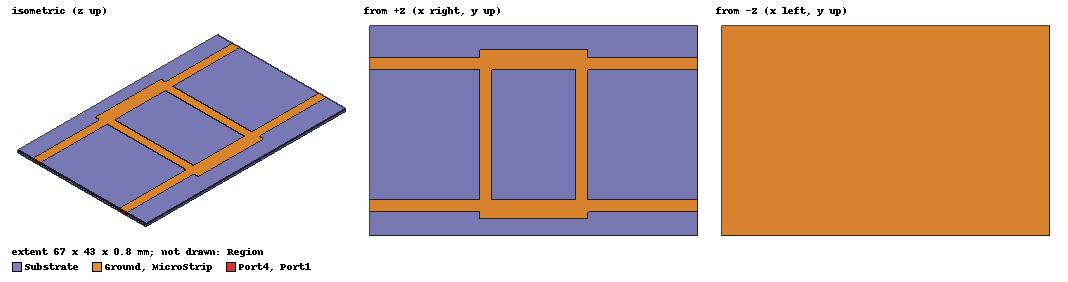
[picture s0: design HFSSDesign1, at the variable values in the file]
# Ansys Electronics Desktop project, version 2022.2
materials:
  vacuum: permittivity=1
  Rogers RT/duroid 5880 (tm): permittivity=2.2 dielectric_loss_tangent=0.0009

design HFSSDesign1 (HFSS, DrivenModal, model units mm)
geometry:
  Ground = rectangle(corner=(0mm, 0mm, 0mm), x_size=67mm, y_size=43mm)
  Substrate [Rogers RT/duroid 5880 (tm)] = box(corner=(0mm, 0mm, 0mm), size=(67mm, 43mm, 0.8mm))
  Rectangle2 = rectangle(corner=(44.5mm, 5mm, 0.8mm), x_size=22.5mm, y_size=2.5mm)
  Rectangle3 = rectangle(corner=(44.5mm, 34mm, 0.8mm), x_size=22.5mm, y_size=2.5mm)
  Rectangle4 = rectangle(corner=(0mm, 5mm, 0.8mm), x_size=22.5mm, y_size=2.5mm)
  Rectangle5 = rectangle(corner=(0mm, 34mm, 0.8mm), x_size=22.5mm, y_size=2.5mm)
  Rectangle6 = rectangle(corner=(22.5mm, 3.5mm, 0.8mm), x_size=22mm, y_size=4mm)
  MicroStrip = rectangle(corner=(22.5mm, 7.5mm, 0.8mm), x_size=2.5mm, y_size=26.5mm)
  Rectangle8 = rectangle(corner=(22.5mm, 34mm, 0.8mm), x_size=22mm, y_size=4mm)
  Rectangle9 = rectangle(corner=(42mm, 7.5mm, 0.8mm), x_size=2.5mm, y_size=26.5mm)
  MicroStrip.unite(Rectangle6, Rectangle5, Rectangle4, Rectangle3, Rectangle8, Rectangle9, Rectangle2)
  Port1 = rectangle(corner=(67mm, 5mm, 0.8mm), y_size=2.5mm, z_size=-0.8mm)
  Port4 = rectangle(corner=(67mm, 34mm, 0.8mm), y_size=2.5mm, z_size=-0.8mm)
  Port2 = rectangle(corner=(0mm, 5mm, 0.8mm), y_size=2.5mm, z_size=-0.8mm)
  Port3 = rectangle(corner=(0mm, 34mm, 0.8mm), y_size=2.5mm, z_size=-0.8mm)
  Region [vacuum] = region(absolute_offset=50mm on all sides)
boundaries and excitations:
  PerfE1: Perfect E Objects=MicroStrip
  PerfE2: Perfect E Objects=Ground
  Rad1: Radiation Objects=Region
  Rad2: Radiation Objects=Region
  PerfE3: Perfect E Objects=Ground
  Rad3: Radiation Objects=Region
  1: Lumped Port Objects=Port1 Modes{Mode1{IntLine{(67, 6.25, 0) -> (67, 6.25, 0.8)} CharImp=Zpi RenormImp=50ohm}} Impedance=50ohm
  2: Lumped Port Objects=Port2 Modes{Mode1{IntLine{(0, 6.25, 0) -> (0, 6.25, 0.8)} CharImp=Zpi RenormImp=50ohm}} Impedance=50ohm
  3: Lumped Port Objects=Port3 Modes{Mode1{IntLine{(0, 35.25, 0) -> (0, 35.25, 0.8)} CharImp=Zpi RenormImp=50ohm}} Impedance=50ohm
  4: Lumped Port Objects=Port4 Modes{Mode1{IntLine{(67, 35.25, 0) -> (67, 35.25, 0.8)} CharImp=Zpi RenormImp=50ohm}} Impedance=50ohm
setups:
  Setup1: HfssDriven Frequency=2.45GHz MaxDeltaS=0.02 MaximumPasses=6 MinimumPasses=1 MinimumConvergedPasses=1 PercentRefinement=30 BasisOrder=1 PortAccuracy=2 DrivenSolverType="Direct Solver"
    sweep Sweep: 1.225GHz to 3.675GHz, 401 points; Type=Fast SaveFields
  Setup2: HfssDriven Frequency=2.45GHz MaxDeltaS=0.02 MaximumPasses=6 MinimumPasses=1 MinimumConvergedPasses=1 PercentRefinement=30 BasisOrder=1 PortAccuracy=2 DrivenSolverType="Direct Solver"
    sweep Sweep: 1.225GHz to 3.675GHz, 401 points; Type=Fast SaveFields
  Setup3: HfssDriven Frequency=2.45GHz MaxDeltaS=0.02 MaximumPasses=6 MinimumPasses=1 MinimumConvergedPasses=1 PercentRefinement=30 BasisOrder=1 PortAccuracy=2 DrivenSolverType="Direct Solver"
    sweep Sweep: 1.225GHz to 3.675GHz, 401 points; Type=Fast SaveFields
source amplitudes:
  1:1: 1W 0deg
  2:1, 3:1, 4:1: 0W 0deg
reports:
  S Parameter Plot 1: dB(S(1,1)), dB(S(2,1)), dB(S(3,1)), dB(S(4,1)) vs Freq on Setup1 : Sweep; markers m1 at 2.137625GHz, m2 at 2.260125GHz
